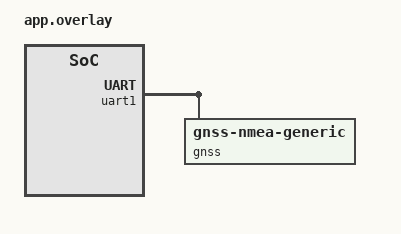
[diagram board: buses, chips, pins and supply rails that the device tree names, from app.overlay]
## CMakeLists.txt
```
# SPDX-FileCopyrightText: Copyright RAKwireless Technology Limited
# SPDX-License-Identifier: Apache-2.0

cmake_minimum_required(VERSION 3.20.0)
find_package(Zephyr REQUIRED HINTS $ENV{ZEPHYR_BASE})
project(gnss_timepulse)

target_sources(app PRIVATE src/main.c)
```

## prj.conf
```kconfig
# SPDX-FileCopyrightText: Copyright RAKwireless Technology Limited
# SPDX-License-Identifier: Apache-2.0

CONFIG_ZTEST=y
CONFIG_SERIAL=y
CONFIG_UART_INTERRUPT_DRIVEN=y
CONFIG_GNSS=y
CONFIG_COUNTER=y
CONFIG_COUNTER_CAPTURE=y
```

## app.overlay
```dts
/*
 * SPDX-FileCopyrightText: Copyright RAKwireless Technology Limited
 * SPDX-License-Identifier: Apache-2.0
 */

#include <zephyr/dt-bindings/counter/counter-capture.h>

&counter0 {
	rising-edge;
	falling-edge;
};

&uart1 {
	status = "okay";

	gnss: gnss-nmea-generic {
		compatible = "gnss-nmea-generic";
		counter-captures = <&counter0 0 COUNTER_CAPTURE_RISING_EDGE>;
	};
};
```

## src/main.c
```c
/*
 * SPDX-FileCopyrightText: Copyright RAKwireless Technology Limited
 * SPDX-License-Identifier: Apache-2.0
 */

#include <zephyr/drivers/counter.h>
#include <zephyr/drivers/counter/counter_capture_emul.h>
#include <zephyr/drivers/gnss.h>
#include <zephyr/kernel.h>
#include <zephyr/pm/device.h>
#include <zephyr/ztest.h>

static const struct device *const gnss = DEVICE_DT_GET(DT_NODELABEL(gnss));
static const struct device *const counter = DEVICE_DT_GET(DT_NODELABEL(counter0));

static void pulse(void)
{
	zassert_ok(counter_capture_emul_input_set(counter, 0, 1));
	zassert_ok(counter_capture_emul_input_set(counter, 0, 0));
}

static void wake(void)
{
	int ret;

	if (!IS_ENABLED(CONFIG_PM_DEVICE)) {
		return;
	}

	ret = pm_device_action_run(gnss, PM_DEVICE_ACTION_RESUME);
	zassert_true((ret == 0) || (ret == -EALREADY), "PM resume returned %d", ret);
}

static void before(void *fixture)
{
	ARG_UNUSED(fixture);

	zassert_ok(counter_capture_emul_input_set(counter, 0, 0));
	wake();
}

ZTEST(gnss_timepulse, test_devices_are_ready)
{
	zassert_true(device_is_ready(gnss));
	zassert_true(device_is_ready(counter));
}

ZTEST(gnss_timepulse, test_pulse_is_reported)
{
	k_ticks_t before_pulse = k_uptime_ticks();
	k_ticks_t timepulse;
	k_ticks_t after_pulse;

	pulse();
	after_pulse = k_uptime_ticks();

	zassert_ok(gnss_get_latest_timepulse(gnss, &timepulse));

	/* The capture happened between the two readings, so it has to land
	 * between them however the counter counts.
	 */
	zassert_true(timepulse >= before_pulse, "timepulse %lld precedes the pulse %lld",
		     (long long)timepulse, (long long)before_pulse);
	zassert_true(timepulse <= after_pulse, "timepulse %lld follows the pulse %lld",
		     (long long)timepulse, (long long)after_pulse);
}

ZTEST(gnss_timepulse, test_later_pulse_reads_later)
{
	k_ticks_t first;
	k_ticks_t second;

	pulse();
	zassert_ok(gnss_get_latest_timepulse(gnss, &first));

	k_msleep(20);

	pulse();
	zassert_ok(gnss_get_latest_timepulse(gnss, &second));

	zassert_true(second > first, "the second pulse did not read later");
}

ZTEST(gnss_timepulse, test_reading_twice_is_stable)
{
	k_ticks_t once;
	k_ticks_t twice;

	pulse();

	zassert_ok(gnss_get_latest_timepulse(gnss, &once));
	k_msleep(10);
	zassert_ok(gnss_get_latest_timepulse(gnss, &twice));

	zassert_equal(once, twice, "the stored timepulse moved on its own");
}

ZTEST(gnss_timepulse, test_suspend_stops_capture)
{
	k_ticks_t before_suspend;
	k_ticks_t after_pulse;

	Z_TEST_SKIP_IFNDEF(CONFIG_PM_DEVICE);

	pulse();
	zassert_ok(gnss_get_latest_timepulse(gnss, &before_suspend));

	zassert_ok(pm_device_action_run(gnss, PM_DEVICE_ACTION_SUSPEND));

	k_msleep(10);
	pulse();

	zassert_ok(gnss_get_latest_timepulse(gnss, &after_pulse));
	zassert_equal(before_suspend, after_pulse,
		      "a pulse was timestamped while the device was suspended");

	/* And the device picks the pulse up again once it is back. */
	wake();
	k_msleep(10);
	pulse();

	zassert_ok(gnss_get_latest_timepulse(gnss, &after_pulse));
	zassert_true(after_pulse > before_suspend, "the pulse was missed after resume");
}

ZTEST_SUITE(gnss_timepulse, NULL, NULL, before, NULL, NULL);
```
